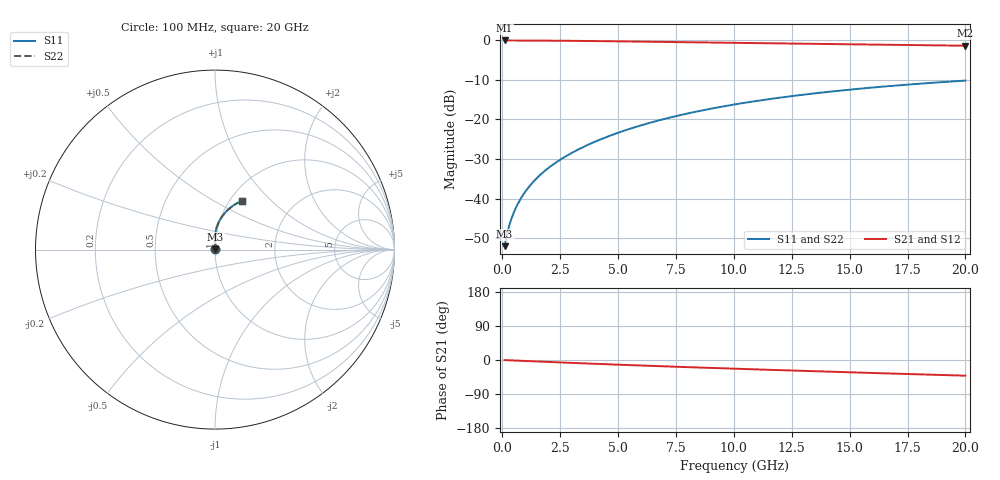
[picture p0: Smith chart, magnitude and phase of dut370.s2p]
! Touchstone file exported from HFSS 2024.1.0
!  File:  C:/UserFiles/LocalFiles/RDL_TSV_Batchsim/temp_RDL_bottom_370_1779613272.aedt
!  Generated:  05:04:28 PM May 24, 2026
!  Design:  RDL_bottom
!  Project:  temp_RDL_bottom_370_1779613272
!  Setup:  Setup1
!  Solution:  Sweep
! Variables:
!  dtsv = 10.80580581um
!  hbump = 3um
!  htsv = 76.09um
!  ldown = 622.79um
!  lrdl = 100um
!  p = 40
!  p1 = 52.17um
!  rhole = 1um
!  t = 450um
!  tdown = 4.26um
!  trdl = 3.915915916um
!  wdown = 28.48um
!  wrdl = 20um
# GHz S MA R 50.000000
! Terminal data exported
! Port[1] = RDL1_T1
! Port[2] = RDL1_T2
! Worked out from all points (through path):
!   200 points, 100 MHz to 20 GHz, reference 50 ohm
!   highest |S21| = -0.02 dB at 100 MHz (marker M1); lowest = -1.4 dB at 20 GHz (marker M2)
!   group delay of S21, straight-line fit = 5.66 ps
!   lowest |S11| = -52.0 dB at 100 MHz (marker M3), VSWR 1.01, Z = 50.2 + j0.143 ohm
!   |S11| at or under -10 dB: start of sweep to end of sweep
!   |S22| runs from -52.0 to -10.2 dB; largest |S21 - S12| = 2.1e-15
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0.1  0.002505 34.7  0.9979 -0.3  0.9979 -0.3  0.002505 34.7
! Gamma 0 0 0 0
! Port Impedance 50 0 50 0
0.2  0.003519 50.8  0.9977 -0.5  0.9977 -0.5  0.003519 50.8
0.3  0.004578 59.0  0.9975 -0.8  0.9975 -0.8  0.004578 59.0
0.4  0.005637 64.4  0.9973 -1.1  0.9973 -1.1  0.005637 64.4
0.5  0.006707 68.4  0.9971 -1.3  0.9971 -1.3  0.006707 68.4
0.6  0.007795 71.5  0.9969 -1.6  0.9969 -1.6  0.007795 71.5
0.8  0.01002 76.0  0.9965 -2.1  0.9965 -2.1  0.01002 76.0
1.1  0.01348 80.3  0.9958 -2.9  0.9958 -2.9  0.01348 80.3
1.3  0.01585 82.3  0.9952 -3.4  0.9952 -3.4  0.01585 82.3
1.6  0.01949 84.5  0.9942 -4.1  0.9942 -4.1  0.01949 84.5
2.1  0.02577 87.0  0.992 -5.4  0.992 -5.4  0.02577 86.9
2.7  0.0337 88.8  0.9889 -6.9  0.9889 -6.9  0.0337 88.8
3.5  0.04493 90.1  0.9838 -8.9  0.9838 -8.9  0.04493 90.1
4.2  0.05538 90.5  0.9788 -10.5  0.9788 -10.5  0.05538 90.4
5  0.06796 90.3  0.9727 -12.4  0.9727 -12.4  0.06795 90.3
6.8  0.09814 88.3  0.9579 -16.3  0.9579 -16.3  0.09812 88.3
8.4  0.1262 85.5  0.9447 -19.7  0.9447 -19.7  0.1261 85.5
10.1  0.1562 82.0  0.9308 -23.1  0.9308 -23.1  0.1561 82.0
11.7  0.184 78.5  0.9182 -26.2  0.9182 -26.2  0.1839 78.5
13.4  0.2125 74.8  0.905 -29.5  0.905 -29.5  0.2125 74.7
16.7  0.2643 67.7  0.8801 -35.5  0.8801 -35.5  0.2642 67.7
20  0.3104 61.0  0.856 -41.4  0.856 -41.4  0.3103 61.0
